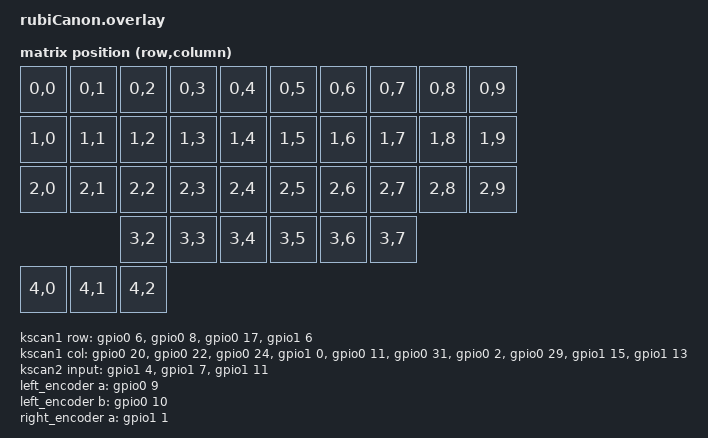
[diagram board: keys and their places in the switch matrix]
/* rubiCanon.overlay — SuperMini nRF52840 (10×4, col2row) */
#include <dt-bindings/zmk/matrix_transform.h>



    /* ---------- GPIO STATUS ---------- */
    &gpio0 {
        status = "okay";
    };

    &gpio1 {
        status = "okay";
    };
   

/{
    compatible = "zmk,keyboard-shield";

    chosen {
        zmk,kscan = &kscan0;
        zmk,physical-layout = &physical_layout0;
    };

     kscan0: kscan_composite 
    {
        compatible = "zmk,kscan-composite";
        rows = <5>; // total rows
        columns = <10>; // total columns

        matrix {
            kscan = <&kscan1>;
        };

        direct {
            kscan = <&kscan2>;
            row-offset = <4>; 
        };
    };

    kscan1: kscan_matrix {
        compatible = "zmk,kscan-gpio-matrix";
        diode-direction = "col2row";
        wakeup-source;

    /* 10 columnas */
    col-gpios = <
        &gpio0 20 GPIO_ACTIVE_HIGH
        &gpio0 22 GPIO_ACTIVE_HIGH
        &gpio0 24 GPIO_ACTIVE_HIGH
        &gpio1  0 GPIO_ACTIVE_HIGH
        &gpio0 11 GPIO_ACTIVE_HIGH
        &gpio0 31 GPIO_ACTIVE_HIGH
        &gpio0  2 GPIO_ACTIVE_HIGH
        &gpio0 29 GPIO_ACTIVE_HIGH
        &gpio1 15 GPIO_ACTIVE_HIGH
        &gpio1 13 GPIO_ACTIVE_HIGH
    >;

    /* 4 filas */
    row-gpios = <
        &gpio0  6 (GPIO_ACTIVE_HIGH | GPIO_PULL_DOWN)
        &gpio0  8 (GPIO_ACTIVE_HIGH | GPIO_PULL_DOWN)
        &gpio0 17 (GPIO_ACTIVE_HIGH | GPIO_PULL_DOWN)
        &gpio1  6 (GPIO_ACTIVE_HIGH | GPIO_PULL_DOWN)
    >;
       
    };

        kscan2: kscan_direct { 
        compatible = "zmk,kscan-gpio-direct";
        input-gpios =   <&gpio1 4 (GPIO_ACTIVE_LOW | GPIO_PULL_UP)>,
                        <&gpio1 7 (GPIO_ACTIVE_LOW | GPIO_PULL_UP)>,
                        <&gpio1 11 (GPIO_ACTIVE_LOW | GPIO_PULL_UP)>;
    };

    /* ---------- TRANSFORM ---------- */
    default_transform: keymap_transform0 {
        compatible = "zmk,matrix-transform";
        columns = <10>;
        rows    = <5>;

        map = <
            /* fila‑0 */ RC(0,0) RC(0,1) RC(0,2) RC(0,3) RC(0,4) RC(0,5) RC(0,6) RC(0,7) RC(0,8) RC(0,9)
            /* fila‑1 */ RC(1,0) RC(1,1) RC(1,2) RC(1,3) RC(1,4) RC(1,5) RC(1,6) RC(1,7) RC(1,8) RC(1,9)
            /* fila‑2 */ RC(2,0) RC(2,1) RC(2,2) RC(2,3) RC(2,4) RC(2,5) RC(2,6) RC(2,7) RC(2,8) RC(2,9)
            /* fila‑3 */                 RC(3,2) RC(3,3) RC(3,4) RC(3,5) RC(3,6) RC(3,7) 
            /* fila‑4 */ RC(4,0) RC(4,1) RC(4,2)
        >;
    };

    /* ---------- LAYOUT ---------- */
    physical_layout0: physical_layout_0 {
        compatible   = "zmk,physical-layout";
        display-name = "Default Layout";
        kscan        = <&kscan0>;
        transform    = <&default_transform>;
    };
 
    /* ---------- ENCODERS ---------- */
    left_encoder: encoder_left {
        compatible = "alps,ec11";
        a-gpios = <&gpio0 9 (GPIO_ACTIVE_HIGH | GPIO_PULL_UP)>;
        b-gpios = <&gpio0 10 (GPIO_ACTIVE_HIGH | GPIO_PULL_UP)>;
        steps = <48>;
        status = "okay";
    };

    right_encoder: encoder_right {
        compatible = "alps,ec11";
        a-gpios = <&gpio1 1 (GPIO_ACTIVE_HIGH | GPIO_PULL_UP)>;
        b-gpios = <&gpio1 2 (GPIO_ACTIVE_HIGH | GPIO_PULL_UP)>;
        steps = <48>;
        status = "okay";
    };

     sensors: sensors {
        compatible = "zmk,keymap-sensors";
        sensors = <&left_encoder &right_encoder>;
        triggers-per-rotation = <24>;
    };
};
 

